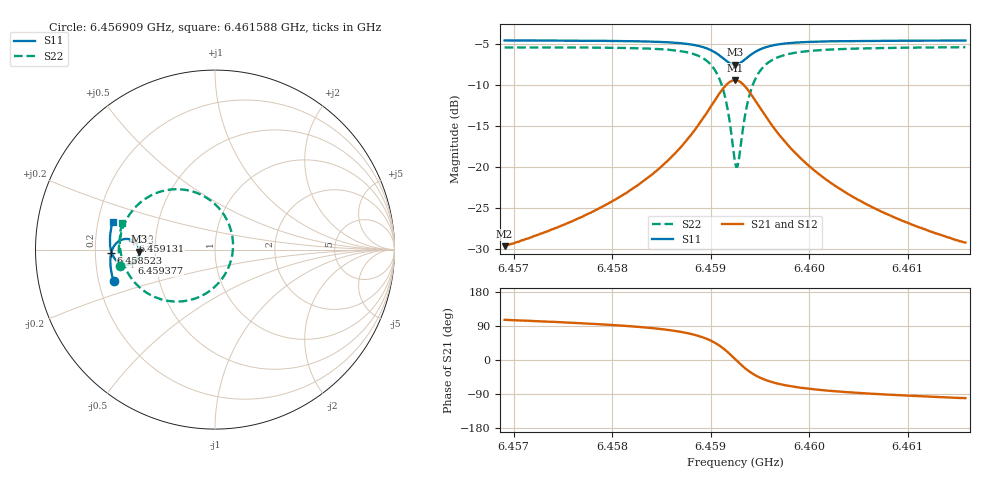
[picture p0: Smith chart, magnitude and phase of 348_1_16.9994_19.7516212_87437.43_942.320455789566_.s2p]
#  HZ  S  RI  R  50.00
! Rohde & Schwarz Vector Network Analyzer
! Rohde-Schwarz,ZNB20-2Port,1311601062101988,3.16
! Created: UTC 3/20/2024, 11:07:42 PM
! freq[Hz]  re:S11  im:S11  re:S21  im:S21  re:S12  im:S12  re:S22  im:S22
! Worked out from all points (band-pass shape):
!   401 points, 6.456909 GHz to 6.461588 GHz, reference 50 ohm
!   highest |S21| = -9.40 dB at 6.459248 GHz (marker M1); lowest = -29.7 dB at 6.456909 GHz (marker M2)
!   |S21| within 3 dB of the highest: 6.459015 GHz to 6.459482 GHz (467.8 kHz wide, 0.00724 % of centre)
!   lowest |S11| = -7.5 dB at 6.459248 GHz (marker M3), VSWR 2.45, Z = 20.4 - j0.583 ohm
!   |S11| at or under -10 dB: nowhere
!   |S22| runs from -20.0 to -5.4 dB; largest |S21 - S12| = 0.013
!   S11 on the Smith chart (normalised r, x): 6.456909 GHz: 0.26, -0.14; 6.458523 GHz: 0.27, -0.01; 6.459131 GHz: 0.37, +0.05; 6.459377 GHz: 0.36, -0.07; 6.461588 GHz: 0.26, +0.12
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6.4569088e9  -0.5649 -0.1776  -0.00906 0.0316  -0.00734 0.0317  -0.5295 -0.0901
6.4576925e9  -0.5798 -0.1096  -0.0059 0.0492  -0.00347 0.0487  -0.536 -4.36e-05
6.4581253e9  -0.5832 -0.0665  -0.00031 0.0686  0.0029 0.0672  -0.5288 0.0672
6.4584763e9  -0.5797 -0.025  0.0132 0.0968  0.017 0.0942  -0.5045 0.1444
6.4585231e9  -0.5784 -0.0187  0.0165 0.1023  0.0204 0.0993  -0.4983 0.1574
6.4587336e9  -0.5665 0.0132  0.0419 0.1335  0.0461 0.1289  -0.4507 0.2284
6.4588857e9  -0.5458 0.0394  0.0837 0.1635  0.0871 0.157  -0.3739 0.2921
6.4590378e9  -0.5004 0.0593  0.1737 0.1827  0.1749 0.1753  -0.2093 0.3365
6.4591313e9  -0.4567 0.0496  0.2622 0.1524  0.2625 0.1466  -0.0461 0.2884
6.4591781e9  -0.4357 0.0312  0.3054 0.1106  0.3066 0.1054  0.0357 0.2141
6.4592483e9  -0.4209 -0.0118  0.3385 0.0158  0.3418 0.00892  0.1003 0.0386
6.4592717e9  -0.4227 -0.0276  0.3366 -0.0189  0.3402 -0.0271  0.0967 -0.0268
6.4592834e9  -0.4247 -0.0351  0.3333 -0.0359  0.3368 -0.0447  0.0895 -0.0588
6.4593302e9  -0.44 -0.0607  0.3056 -0.0947  0.3074 -0.1062  0.0339 -0.1698
6.459377e9  -0.4617 -0.0766  0.2644 -0.1353  0.2634 -0.1481  -0.049 -0.2432
6.4594706e9  -0.5042 -0.0832  0.1813 -0.1662  0.1753 -0.1775  -0.2136 -0.2895
6.4596226e9  -0.5473 -0.0628  0.0951 -0.1532  0.0867 -0.159  -0.3782 -0.2418
6.4597864e9  -0.5686 -0.0352  0.051 -0.126  0.0434 -0.1286  -0.4574 -0.1714
6.4600321e9  -0.5811 0.000241  0.0222 -0.0952  0.0166 -0.0958  -0.5048 -0.0903
6.460383e9  -0.5856 0.0415  0.00626 -0.069  0.00233 -0.0686  -0.526 -0.0121
6.4608158e9  -0.5836 0.0847  -0.00134 -0.0509  -0.00419 -0.0499  -0.5302 0.0556
6.4615879e9  -0.5711 0.1527  -0.00632 -0.034  -0.00813 -0.033  -0.5188 0.1454
